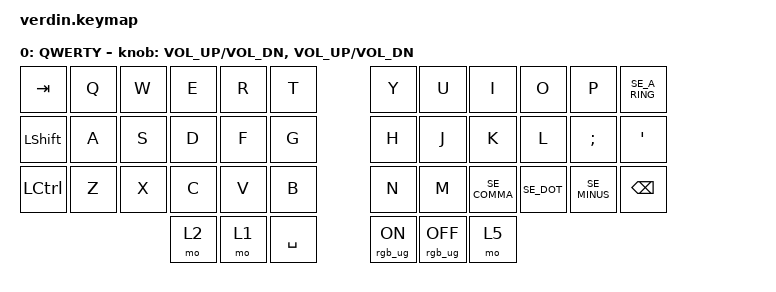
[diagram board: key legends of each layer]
#include "keys_se.h"
#include <behaviors/mouse_keys.dtsi>
#include <behaviors.dtsi>
#include <dt-bindings/zmk/keys.h>
#include <dt-bindings/zmk/rgb.h>

&led_strip { chain-length = <21>; };

&nice_view_spi {
  cs-gpios = <&pro_micro 0 GPIO_ACTIVE_HIGH>;
};

/ {
    combos {
        compatible = "zmk,combos";

        SOFTOFF {
            bindings = <&soft_off>;
            key-positions = <6 35 39>;
        };
    };

    keymap {
        compatible = "zmk,keymap";

        QWERTY {
            // --------------------------------------------------------------------------------------------------------------------------------------------------------------------
            // |   ESC   |    Q    |    W    |    E    |    R    |    T    |                                          |    Y    |    U    |    I    |    O    |    P    |    \    |
            // |   TAB   |    A    |    S    |    D    |    F    |    G    |                                          |    H    |    J    |    K    |    L    |    ;    |    '    |
            // |  SHIFT  |    Z    |    X    |    C    |    V    |    B    |                                          |    N    |    M    |    ,    |    .    |    /    |  R CTRL |
            //                               |   DEL   | RETURN  |  SPACE  |                                          |  SPACE  |   TAB   |   BSPC  |

            bindings = <
&kp TAB         &kp Q  &kp W  &kp E  &kp R  &kp T      &kp Y           &kp U            &kp I         &kp O       &kp P         &kp SE_A_RING
&kp LEFT_SHIFT  &kp A  &kp S  &kp D  &kp F  &kp G      &kp H           &kp J            &kp K         &kp L       &kp SEMI      &kp SQT
&kp LCTRL       &kp Z  &kp X  &kp C  &kp V  &kp B      &kp N           &kp M            &kp SE_COMMA  &kp SE_DOT  &kp SE_MINUS  &kp BACKSPACE
                              &mo 2  &mo 1  &kp SPACE  &rgb_ug RGB_ON  &rgb_ug RGB_OFF  &mo 5
            >;
            sensor-bindings = <&inc_dec_kp C_VOL_UP C_VOL_DN &inc_dec_kp C_VOL_UP C_VOL_DN>;
            label = "QWERTY";
        };
    };
};
